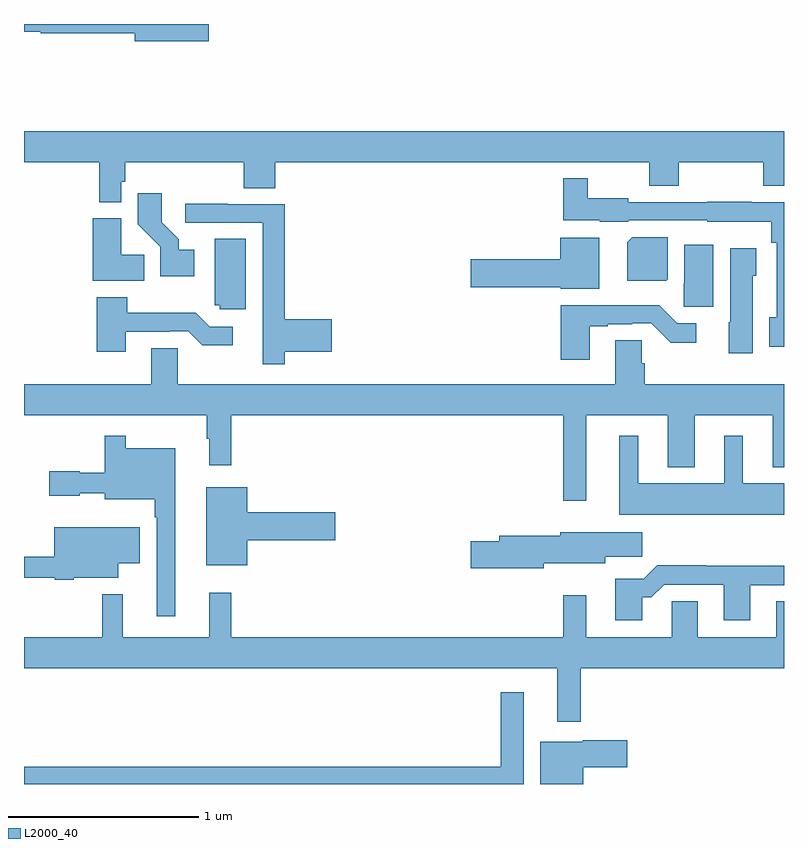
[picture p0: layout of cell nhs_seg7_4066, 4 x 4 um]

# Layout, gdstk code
import gdstk
lib = gdstk.Library(unit=1e-6, precision=1e-09)
def P(c, l, *ps):  # polygons
    for p in ps: c.add(gdstk.Polygon(p, *l))
L2000_40 = (2000, 40)

nhs_seg7_4066 = lib.new_cell('nhs_seg7_4066')
P(nhs_seg7_4066, L2000_40, [(369.973,1012),(369,1012),(369,1011.96),(369.088,1011.96),(369.088,1011.952),(369.584,1011.952),(369.584,1011.91),(369.973,1011.91)],
  [(369.513,1011.171),(369.533,1011.171),(369.533,1011.272),(370.157,1011.272),(370.157,1011.136),(370.322,1011.136),(370.322,1011.272),(372.292,1011.272),(372.292,1011.148),(372.447,1011.148),(372.447,1011.272),(372.892,1011.272),(372.892,1011.148),(373,1011.148),(373,1011.436),(369,1011.436),(369,1011.272),(369.397,1011.272),(369.397,1011.062),(369.513,1011.062)],
  [(373,1011.063),(372.829,1011.063),(372.829,1011.065),(372.597,1011.065),(372.597,1011.063),(372.18,1011.063),(372.18,1011.082),(371.968,1011.082),(371.968,1011.187),(371.839,1011.187),(371.839,1010.966),(372.03,1010.966),(372.03,1010.96),(372.18,1010.96),(372.18,1010.967),(372.597,1010.967),(372.597,1010.96),(372.932,1010.96),(372.932,1010.849),(372.963,1010.849),(372.963,1010.457),(372.923,1010.457),(372.923,1010.301),(373,1010.301)],
  [(369.895,1010.812),(369.814,1010.812),(369.814,1010.867),(369.724,1010.957),(369.724,1011.109),(369.598,1011.109),(369.598,1010.946),(369.717,1010.827),(369.717,1010.672),(369.895,1010.672)],
  [(370.373,1010.276),(370.621,1010.276),(370.621,1010.447),(370.373,1010.447),(370.373,1011.051),(370.073,1011.051),(370.073,1011.054),(369.849,1011.054),(369.849,1010.955),(370.257,1010.955),(370.257,1010.43),(370.256,1010.43),(370.256,1010.208),(370.373,1010.208)],
  [(369.632,1010.786),(369.511,1010.786),(369.511,1010.977),(369.362,1010.977),(369.362,1010.648),(369.632,1010.648)],
  [(372.388,1010.656),(372.388,1010.878),(372.202,1010.878),(372.176,1010.852),(372.176,1010.648),(372.38,1010.648)],
  [(372.028,1010.876),(371.822,1010.876),(371.822,1010.762),(371.352,1010.762),(371.352,1010.615),(371.826,1010.615),(371.826,1010.606),(372.028,1010.606)],
  [(370.168,1010.869),(370.004,1010.869),(370.004,1010.52),(370.029,1010.52),(370.029,1010.499),(370.168,1010.499)],
  [(372.628,1010.839),(372.476,1010.839),(372.476,1010.634),(372.472,1010.634),(372.472,1010.511),(372.628,1010.511)],
  [(372.835,1010.676),(372.853,1010.676),(372.853,1010.821),(372.716,1010.821),(372.716,1010.43),(372.71,1010.43),(372.71,1010.268),(372.835,1010.268)],
  [(369.535,1010.379),(369.764,1010.379),(369.764,1010.382),(369.864,1010.382),(369.937,1010.309),(370.099,1010.309),(370.099,1010.406),(369.978,1010.406),(369.905,1010.479),(369.543,1010.479),(369.543,1010.563),(369.383,1010.563),(369.383,1010.274),(369.535,1010.274)],
  [(371.977,1010.409),(372.073,1010.409),(372.073,1010.421),(372.2,1010.421),(372.2,1010.424),(372.3,1010.424),(372.403,1010.322),(372.538,1010.322),(372.538,1010.424),(372.438,1010.424),(372.343,1010.519),(371.825,1010.519),(371.825,1010.232),(371.977,1010.232)],
  [(371.959,1009.94),(372.389,1009.94),(372.389,1009.667),(372.529,1009.667),(372.529,1009.94),(372.941,1009.94),(372.941,1009.667),(373,1009.667),(373,1010.104),(372.266,1010.104),(372.266,1010.214),(372.252,1010.214),(372.252,1010.336),(372.113,1010.336),(372.113,1010.104),(369.81,1010.104),(369.81,1010.294),(369.671,1010.294),(369.671,1010.104),(369,1010.104),(369,1009.94),(369.963,1009.94),(369.963,1009.817),(369.974,1009.817),(369.974,1009.677),(370.091,1009.677),(370.091,1009.94),(371.838,1009.94),(371.838,1009.491),(371.959,1009.491)],
  [(373,1009.582),(372.784,1009.582),(372.784,1009.834),(372.686,1009.834),(372.686,1009.582),(372.232,1009.582),(372.232,1009.834),(372.134,1009.834),(372.134,1009.418),(373,1009.418)],
  [(369.796,1009.768),(369.535,1009.768),(369.535,1009.834),(369.425,1009.834),(369.425,1009.639),(369.294,1009.639),(369.294,1009.647),(369.132,1009.647),(369.132,1009.517),(369.294,1009.517),(369.294,1009.529),(369.425,1009.529),(369.425,1009.499),(369.687,1009.499),(369.687,1009.403),(369.699,1009.403),(369.699,1008.882),(369.796,1008.882)],
  [(370.174,1009.283),(370.639,1009.283),(370.639,1009.43),(370.174,1009.43),(370.174,1009.561),(369.959,1009.561),(369.959,1009.151),(370.174,1009.151)],
  [(369.262,1009.085),(369.496,1009.085),(369.496,1009.163),(369.61,1009.163),(369.61,1009.351),(369.158,1009.351),(369.158,1009.195),(369,1009.195),(369,1009.086),(369.162,1009.086),(369.162,1009.074),(369.262,1009.074)],
  [(371.736,1009.163),(372.058,1009.163),(372.058,1009.195),(372.253,1009.195),(372.253,1009.324),(371.822,1009.324),(371.822,1009.307),(371.501,1009.307),(371.501,1009.277),(371.352,1009.277),(371.352,1009.135),(371.736,1009.135)],
  [(372.253,1008.983),(372.302,1008.983),(372.369,1009.05),(372.683,1009.05),(372.683,1008.861),(372.823,1008.861),(372.823,1009.047),(373,1009.047),(373,1009.148),(372.587,1009.148),(372.587,1009.151),(372.332,1009.151),(372.262,1009.081),(372.113,1009.081),(372.113,1008.861),(372.253,1008.861)],
  [(371.929,1008.608),(373,1008.608),(373,1008.962),(372.959,1008.962),(372.959,1008.772),(372.547,1008.772),(372.547,1008.962),(372.408,1008.962),(372.408,1008.772),(371.959,1008.772),(371.959,1008.994),(371.838,1008.994),(371.838,1008.772),(370.091,1008.772),(370.091,1009.006),(369.974,1009.006),(369.974,1008.772),(369.521,1008.772),(369.521,1009),(369.411,1009),(369.411,1008.772),(369,1008.772),(369,1008.608),(371.807,1008.608),(371.807,1008.327),(371.929,1008.327)],
  [(371.629,1008.484),(371.508,1008.484),(371.508,1008.092),(369,1008.092),(369,1008),(371.629,1008)],
  [(371.944,1008.089),(372.175,1008.089),(372.175,1008.231),(371.94,1008.231),(371.94,1008.223),(371.717,1008.223),(371.717,1008),(371.944,1008)])

lib.write_gds('nhs_seg7_4066.gds')
